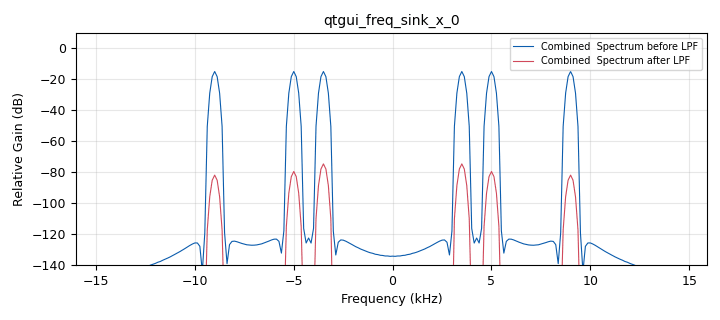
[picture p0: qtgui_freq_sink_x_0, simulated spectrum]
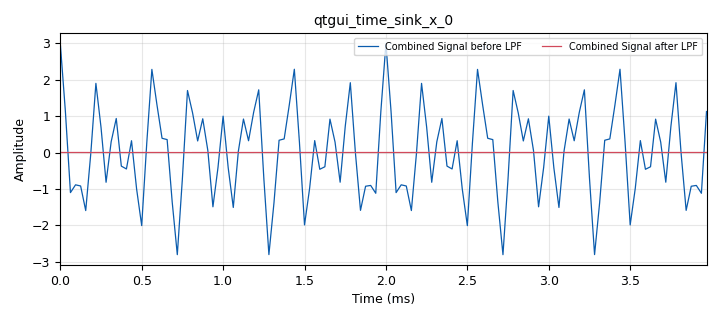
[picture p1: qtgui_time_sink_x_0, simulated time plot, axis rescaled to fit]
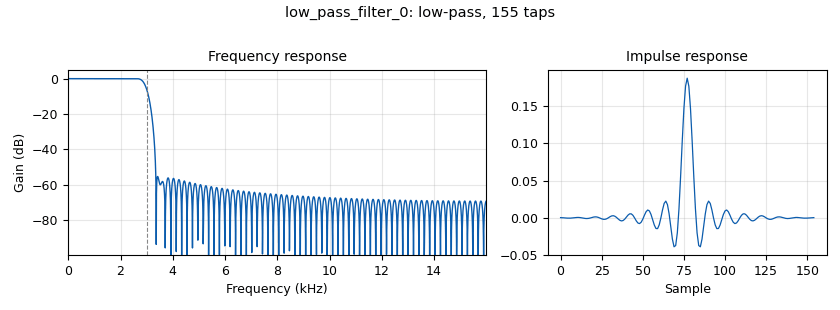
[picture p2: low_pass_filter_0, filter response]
options:
  parameters:
    author: Dhrubjun
    generate_options: qt_gui
    id: exp6
    output_language: python
    title: Transition Width
  states: {}

blocks:
- name: samp_rate
  id: variable
  parameters:
    value: '32000'
  states: {}
- name: trans_width
  id: variable_qtgui_range
  parameters:
    label: Transition Width
    start: '100'
    step: '100'
    stop: '2000'
    value: '500'
  states: {}
- name: analog_sig_source_x_0
  id: analog_sig_source_x
  parameters:
    amp: '1'
    freq: '3500'
    offset: '0'
    phase: '0'
    samp_rate: samp_rate
    type: float
    waveform: analog.GR_COS_WAVE
  states: {}
- name: analog_sig_source_x_0_0
  id: analog_sig_source_x
  parameters:
    amp: '1'
    freq: '5000'
    offset: '0'
    phase: '0'
    samp_rate: samp_rate
    type: float
    waveform: analog.GR_COS_WAVE
  states: {}
- name: analog_sig_source_x_0_1
  id: analog_sig_source_x
  parameters:
    amp: '1'
    freq: '9000'
    offset: '0'
    phase: '0'
    samp_rate: samp_rate
    type: float
    waveform: analog.GR_COS_WAVE
  states: {}
- name: blocks_add_xx_0
  id: blocks_add_xx
  parameters:
    num_inputs: '3'
    type: float
  states: {}
- name: blocks_throttle2_0
  id: blocks_throttle2
  parameters:
    samples_per_second: samp_rate
    type: float
  states: {}
- name: low_pass_filter_0
  id: low_pass_filter
  parameters:
    cutoff_freq: '3000'
    decim: '1'
    gain: '1'
    samp_rate: samp_rate
    type: fir_filter_fff
    width: trans_width
    win: window.WIN_HAMMING
  states: {}
- name: qtgui_freq_sink_x_0
  id: qtgui_freq_sink_x
  parameters:
    bw: samp_rate
    fc: '0'
    fftsize: '256'
    grid: 'True'
    label1: Combined  Spectrum before LPF
    label2: Combined  Spectrum after LPF
    nconnections: '2'
    type: float
  states: {}
- name: qtgui_time_sink_x_0
  id: qtgui_time_sink_x
  parameters:
    grid: 'True'
    label1: Combined Signal before LPF
    label2: Combined Signal after LPF
    nconnections: '2'
    size: '128'
    srate: samp_rate
    type: float
  states: {}

connections:
- [analog_sig_source_x_0, '0', blocks_add_xx_0, '0']
- [analog_sig_source_x_0_0, '0', blocks_add_xx_0, '1']
- [analog_sig_source_x_0_1, '0', blocks_add_xx_0, '2']
- [blocks_add_xx_0, '0', blocks_throttle2_0, '0']
- [blocks_throttle2_0, '0', low_pass_filter_0, '0']
- [blocks_throttle2_0, '0', qtgui_freq_sink_x_0, '0']
- [blocks_throttle2_0, '0', qtgui_time_sink_x_0, '0']
- [low_pass_filter_0, '0', qtgui_freq_sink_x_0, '1']
- [low_pass_filter_0, '0', qtgui_time_sink_x_0, '1']

metadata:
  file_format: 1
  grc_version: 3.10.12.0
